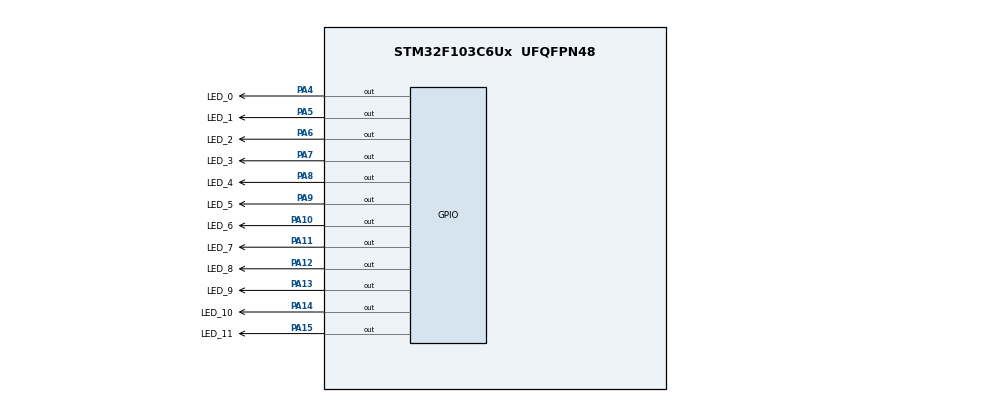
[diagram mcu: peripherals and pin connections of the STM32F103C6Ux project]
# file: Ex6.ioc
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Mcu.Family=STM32F1
Mcu.Name=STM32F103C6Ux
Mcu.Package=UFQFPN48
NVIC.PriorityGroup=NVIC_PRIORITYGROUP_4
PA10.GPIO_Label=LED_6
PA10.Signal=GPIO_Output
PA11.GPIO_Label=LED_7
PA11.Signal=GPIO_Output
PA12.GPIO_Label=LED_8
PA12.Signal=GPIO_Output
PA13.GPIO_Label=LED_9
PA13.Signal=GPIO_Output
PA14.GPIO_Label=LED_10
PA14.Signal=GPIO_Output
PA15.GPIO_Label=LED_11
PA15.Signal=GPIO_Output
PA4.GPIO_Label=LED_0
PA4.Signal=GPIO_Output
PA5.GPIO_Label=LED_1
PA5.Signal=GPIO_Output
PA6.GPIO_Label=LED_2
PA6.Signal=GPIO_Output
PA7.GPIO_Label=LED_3
PA7.Signal=GPIO_Output
PA8.GPIO_Label=LED_4
PA8.Signal=GPIO_Output
PA9.GPIO_Label=LED_5
PA9.Signal=GPIO_Output
ProjectManager.HeapSize=0x200
ProjectManager.StackSize=0x400
ProjectManager.TargetToolchain=STM32CubeIDE
RCC.APB1Freq_Value=8000000
RCC.APB2Freq_Value=8000000
VP_SYS_VS_ND.Mode=No_Debug
board=custom

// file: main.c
/* USER CODE BEGIN Header */
/**
  ******************************************************************************
  * @file           : main.c
  * @brief          : Main program body
  ******************************************************************************
  * @attention
  *
  * <h2><center>&copy; Copyright (c) 2024 STMicroelectronics.
  * All rights reserved.</center></h2>
  *
  * This software component is licensed by ST under BSD 3-Clause license,
  * the "License"; You may not use this file except in compliance with the
  * License. You may obtain a copy of the License at:
  *                        opensource.org/licenses/BSD-3-Clause
  *
  ******************************************************************************
  */
/* USER CODE END Header */
#include "main.h"

void SystemClock_Config(void);
static void MX_GPIO_Init(void);

/* USER CODE BEGIN 0 */
void turnOffAllLEDs() {
    HAL_GPIO_WritePin(LED_0_GPIO_Port, LED_0_Pin, GPIO_PIN_RESET);
    HAL_GPIO_WritePin(LED_1_GPIO_Port, LED_1_Pin, GPIO_PIN_RESET);
    HAL_GPIO_WritePin(LED_2_GPIO_Port, LED_2_Pin, GPIO_PIN_RESET);
    HAL_GPIO_WritePin(LED_3_GPIO_Port, LED_3_Pin, GPIO_PIN_RESET);
    HAL_GPIO_WritePin(LED_4_GPIO_Port, LED_4_Pin, GPIO_PIN_RESET);
    HAL_GPIO_WritePin(LED_5_GPIO_Port, LED_5_Pin, GPIO_PIN_RESET);
    HAL_GPIO_WritePin(LED_6_GPIO_Port, LED_6_Pin, GPIO_PIN_RESET);
    HAL_GPIO_WritePin(LED_7_GPIO_Port, LED_7_Pin, GPIO_PIN_RESET);
    HAL_GPIO_WritePin(LED_8_GPIO_Port, LED_8_Pin, GPIO_PIN_RESET);
    HAL_GPIO_WritePin(LED_9_GPIO_Port, LED_9_Pin, GPIO_PIN_RESET);
    HAL_GPIO_WritePin(LED_10_GPIO_Port, LED_10_Pin, GPIO_PIN_RESET);
    HAL_GPIO_WritePin(LED_11_GPIO_Port, LED_11_Pin, GPIO_PIN_RESET);
}
void testPro() {
    // Loop through all the LEDs from LED_0 to LED_11
    for (int i = 0; i < 12; i++) {
        // Turn off all LEDs first to ensure only one is on
        turnOffAllLEDs();

        // Based on the loop counter, turn on the corresponding LED
        switch (i) {
            case 0:
                HAL_GPIO_WritePin(LED_0_GPIO_Port, LED_0_Pin, GPIO_PIN_SET);
                break;
            case 1:
                HAL_GPIO_WritePin(LED_1_GPIO_Port, LED_1_Pin, GPIO_PIN_SET);
                break;
            case 2:
                HAL_GPIO_WritePin(LED_2_GPIO_Port, LED_2_Pin, GPIO_PIN_SET);
                break;
            case 3:
                HAL_GPIO_WritePin(LED_3_GPIO_Port, LED_3_Pin, GPIO_PIN_SET);
                break;
            case 4:
                HAL_GPIO_WritePin(LED_4_GPIO_Port, LED_4_Pin, GPIO_PIN_SET);
                break;
            case 5:
                HAL_GPIO_WritePin(LED_5_GPIO_Port, LED_5_Pin, GPIO_PIN_SET);
                break;
            case 6:
                HAL_GPIO_WritePin(LED_6_GPIO_Port, LED_6_Pin, GPIO_PIN_SET);
                break;
            case 7:
                HAL_GPIO_WritePin(LED_7_GPIO_Port, LED_7_Pin, GPIO_PIN_SET);
                break;
            case 8:
                HAL_GPIO_WritePin(LED_8_GPIO_Port, LED_8_Pin, GPIO_PIN_SET);
                break;
            case 9:
                HAL_GPIO_WritePin(LED_9_GPIO_Port, LED_9_Pin, GPIO_PIN_SET);
                break;
            case 10:
                HAL_GPIO_WritePin(LED_10_GPIO_Port, LED_10_Pin, GPIO_PIN_SET);
                break;
            case 11:
                HAL_GPIO_WritePin(LED_11_GPIO_Port, LED_11_Pin, GPIO_PIN_SET);
                break;
        }

        HAL_Delay(1000);
    }
	turnOffAllLEDs();
}
void setNumberOnClock(int num) {
	switch (num) {
        case 0:
            HAL_GPIO_WritePin(LED_0_GPIO_Port, LED_0_Pin, GPIO_PIN_SET);
            break;
        case 1:
            HAL_GPIO_WritePin(LED_1_GPIO_Port, LED_1_Pin, GPIO_PIN_SET);
            break;
        case 2:
            HAL_GPIO_WritePin(LED_2_GPIO_Port, LED_2_Pin, GPIO_PIN_SET);
            break;
        case 3:
            HAL_GPIO_WritePin(LED_3_GPIO_Port, LED_3_Pin, GPIO_PIN_SET);
            break;
        case 4:
            HAL_GPIO_WritePin(LED_4_GPIO_Port, LED_4_Pin, GPIO_PIN_SET);
            break;
        case 5:
            HAL_GPIO_WritePin(LED_5_GPIO_Port, LED_5_Pin, GPIO_PIN_SET);
            break;
        case 6:
            HAL_GPIO_WritePin(LED_6_GPIO_Port, LED_6_Pin, GPIO_PIN_SET);
            break;
        case 7:
            HAL_GPIO_WritePin(LED_7_GPIO_Port, LED_7_Pin, GPIO_PIN_SET);
            break;
        case 8:
            HAL_GPIO_WritePin(LED_8_GPIO_Port, LED_8_Pin, GPIO_PIN_SET);
            break;
        case 9:
            HAL_GPIO_WritePin(LED_9_GPIO_Port, LED_9_Pin, GPIO_PIN_SET);
            break;
        case 10:
            HAL_GPIO_WritePin(LED_10_GPIO_Port, LED_10_Pin, GPIO_PIN_SET);
            break;
        case 11:
            HAL_GPIO_WritePin(LED_11_GPIO_Port, LED_11_Pin, GPIO_PIN_SET);
            break;
        default:
            break;
    }
}
void clearNumberOnClock(int num) {
    switch (num) {
        case 0:
            HAL_GPIO_WritePin(LED_0_GPIO_Port, LED_0_Pin, GPIO_PIN_RESET);
            break;
        case 1:
            HAL_GPIO_WritePin(LED_1_GPIO_Port, LED_1_Pin, GPIO_PIN_RESET);
            break;
        case 2:
            HAL_GPIO_WritePin(LED_2_GPIO_Port, LED_2_Pin, GPIO_PIN_RESET);
            break;
        case 3:
            HAL_GPIO_WritePin(LED_3_GPIO_Port, LED_3_Pin, GPIO_PIN_RESET);
            break;
        case 4:
            HAL_GPIO_WritePin(LED_4_GPIO_Port, LED_4_Pin, GPIO_PIN_RESET);
            break;
        case 5:
            HAL_GPIO_WritePin(LED_5_GPIO_Port, LED_5_Pin, GPIO_PIN_RESET);
            break;
        case 6:
            HAL_GPIO_WritePin(LED_6_GPIO_Port, LED_6_Pin, GPIO_PIN_RESET);
            break;
        case 7:
            HAL_GPIO_WritePin(LED_7_GPIO_Port, LED_7_Pin, GPIO_PIN_RESET);
            break;
        case 8:
            HAL_GPIO_WritePin(LED_8_GPIO_Port, LED_8_Pin, GPIO_PIN_RESET);
            break;
        case 9:
            HAL_GPIO_WritePin(LED_9_GPIO_Port, LED_9_Pin, GPIO_PIN_RESET);
            break;
        case 10:
            HAL_GPIO_WritePin(LED_10_GPIO_Port, LED_10_Pin, GPIO_PIN_RESET);
            break;
        case 11:
            HAL_GPIO_WritePin(LED_11_GPIO_Port, LED_11_Pin, GPIO_PIN_RESET);
            break;
        default:
            break;
    }
}

/* USER CODE END 0 */

int main(void)
{

  /* MCU Configuration--------------------------------------------------------*/

  /* Reset of all peripherals, Initializes the Flash interface and the Systick. */
  HAL_Init();

  /* Configure the system clock */
  SystemClock_Config();

  /* Initialize all configured peripherals */
  MX_GPIO_Init();

  /* Infinite loop */
  /* USER CODE BEGIN WHILE */
  testPro();
  int counterHour = 9;
  int counterMin = 15;
  int counterSec = 0;
  while (1)
  {
    /* USER CODE END WHILE */
	    counterSec += 5;// 5 times faster than normal
	    if (counterSec >= 60) {
	        counterSec = 0;
	        counterMin++;
	        if (counterMin >= 60) {
	            counterMin = 0;
	            counterHour++;
	            if (counterHour >= 12) {
	                counterHour = 0;
	            }
	        }
	    }
	    turnOffAllLEDs();
	    int hourLED = counterHour % 12;
		int minLED = counterMin / 5;
		int secLED = counterSec / 5;

		setNumberOnClock(hourLED);
		setNumberOnClock(minLED);
		setNumberOnClock(secLED);

		HAL_Delay(1000);
  }
}

void SystemClock_Config(void)
{
  RCC_OscInitTypeDef RCC_OscInitStruct = {0};
  RCC_ClkInitTypeDef RCC_ClkInitStruct = {0};

  /** Initializes the RCC Oscillators according to the specified parameters
  * in the RCC_OscInitTypeDef structure.
  */
  RCC_OscInitStruct.OscillatorType = RCC_OSCILLATORTYPE_HSI;
  RCC_OscInitStruct.HSIState = RCC_HSI_ON;
  RCC_OscInitStruct.HSICalibrationValue = RCC_HSICALIBRATION_DEFAULT;
  RCC_OscInitStruct.PLL.PLLState = RCC_PLL_NONE;
  if (HAL_RCC_OscConfig(&RCC_OscInitStruct) != HAL_OK)
  {
    Error_Handler();
  }
  /** Initializes the CPU, AHB and APB buses clocks
  */
  RCC_ClkInitStruct.ClockType = RCC_CLOCKTYPE_HCLK|RCC_CLOCKTYPE_SYSCLK
                              |RCC_CLOCKTYPE_PCLK1|RCC_CLOCKTYPE_PCLK2;
  RCC_ClkInitStruct.SYSCLKSource = RCC_SYSCLKSOURCE_HSI;
  RCC_ClkInitStruct.AHBCLKDivider = RCC_SYSCLK_DIV1;
  RCC_ClkInitStruct.APB1CLKDivider = RCC_HCLK_DIV1;
  RCC_ClkInitStruct.APB2CLKDivider = RCC_HCLK_DIV1;

  if (HAL_RCC_ClockConfig(&RCC_ClkInitStruct, FLASH_LATENCY_0) != HAL_OK)
  {
    Error_Handler();
  }
}

static void MX_GPIO_Init(void)
{
  GPIO_InitTypeDef GPIO_InitStruct = {0};

  /* GPIO Ports Clock Enable */
  __HAL_RCC_GPIOA_CLK_ENABLE();

  /*Configure GPIO pin Output Level */
  HAL_GPIO_WritePin(GPIOA, LED_0_Pin|LED_1_Pin|LED_2_Pin|LED_3_Pin
                          |LED_4_Pin|LED_5_Pin|LED_6_Pin|LED_7_Pin
                          |LED_8_Pin|LED_9_Pin|LED_10_Pin|LED_11_Pin, GPIO_PIN_RESET);

  /*Configure GPIO pins : LED_0_Pin LED_1_Pin LED_2_Pin LED_3_Pin
                           LED_4_Pin LED_5_Pin LED_6_Pin LED_7_Pin
                           LED_8_Pin LED_9_Pin LED_10_Pin LED_11_Pin */
  GPIO_InitStruct.Pin = LED_0_Pin|LED_1_Pin|LED_2_Pin|LED_3_Pin
                          |LED_4_Pin|LED_5_Pin|LED_6_Pin|LED_7_Pin
                          |LED_8_Pin|LED_9_Pin|LED_10_Pin|LED_11_Pin;
  GPIO_InitStruct.Mode = GPIO_MODE_OUTPUT_PP;
  GPIO_InitStruct.Pull = GPIO_NOPULL;
  GPIO_InitStruct.Speed = GPIO_SPEED_FREQ_LOW;
  HAL_GPIO_Init(GPIOA, &GPIO_InitStruct);

}

void Error_Handler(void)
{
  __disable_irq();
  while (1)
  {
  }
}

/************************ (C) COPYRIGHT STMicroelectronics *****END OF FILE****/
